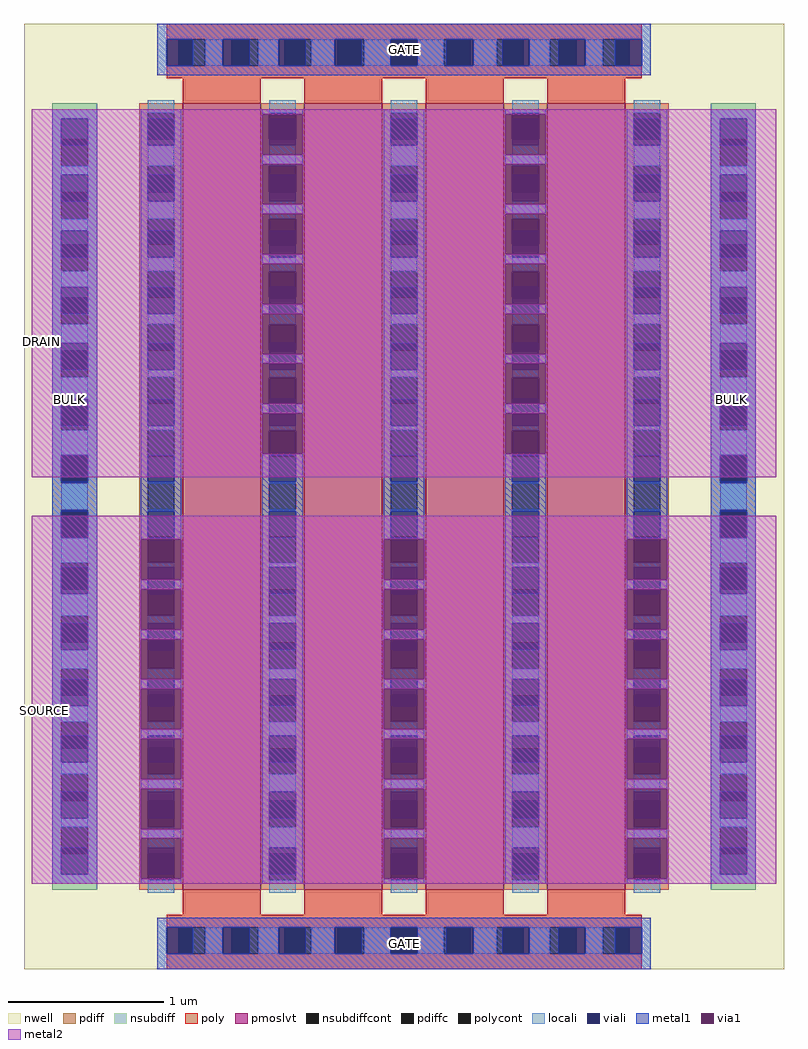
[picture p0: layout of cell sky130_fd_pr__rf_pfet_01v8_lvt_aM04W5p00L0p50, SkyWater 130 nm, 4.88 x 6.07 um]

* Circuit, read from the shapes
.subckt sky130_fd_pr__rf_pfet_01v8_lvt_aM04W5p00L0p50 BULK DRAIN GATE SOURCE
XM1 DRAIN GATE SOURCE BULK sky130_fd_pr__pfet_01v8_lvt w=5.05 l=0.5 m=4
.ends

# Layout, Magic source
magic
tech sky130A
magscale 1 2
<< nwell >>
rect 0 0 976 1214
<< pmoslvt >>
rect 204 102 304 1112
rect 360 102 460 1112
rect 516 102 616 1112
rect 672 102 772 1112
<< pdiff >>
rect 148 1100 204 1112
rect 148 1066 159 1100
rect 193 1066 204 1100
rect 148 1032 204 1066
rect 148 998 159 1032
rect 193 998 204 1032
rect 148 964 204 998
rect 148 930 159 964
rect 193 930 204 964
rect 148 896 204 930
rect 148 862 159 896
rect 193 862 204 896
rect 148 828 204 862
rect 148 794 159 828
rect 193 794 204 828
rect 148 760 204 794
rect 148 726 159 760
rect 193 726 204 760
rect 148 692 204 726
rect 148 658 159 692
rect 193 658 204 692
rect 148 624 204 658
rect 148 590 159 624
rect 193 590 204 624
rect 148 556 204 590
rect 148 522 159 556
rect 193 522 204 556
rect 148 488 204 522
rect 148 454 159 488
rect 193 454 204 488
rect 148 420 204 454
rect 148 386 159 420
rect 193 386 204 420
rect 148 352 204 386
rect 148 318 159 352
rect 193 318 204 352
rect 148 284 204 318
rect 148 250 159 284
rect 193 250 204 284
rect 148 216 204 250
rect 148 182 159 216
rect 193 182 204 216
rect 148 148 204 182
rect 148 114 159 148
rect 193 114 204 148
rect 148 102 204 114
rect 304 1100 360 1112
rect 304 1066 315 1100
rect 349 1066 360 1100
rect 304 1032 360 1066
rect 304 998 315 1032
rect 349 998 360 1032
rect 304 964 360 998
rect 304 930 315 964
rect 349 930 360 964
rect 304 896 360 930
rect 304 862 315 896
rect 349 862 360 896
rect 304 828 360 862
rect 304 794 315 828
rect 349 794 360 828
rect 304 760 360 794
rect 304 726 315 760
rect 349 726 360 760
rect 304 692 360 726
rect 304 658 315 692
rect 349 658 360 692
rect 304 624 360 658
rect 304 590 315 624
rect 349 590 360 624
rect 304 556 360 590
rect 304 522 315 556
rect 349 522 360 556
rect 304 488 360 522
rect 304 454 315 488
rect 349 454 360 488
rect 304 420 360 454
rect 304 386 315 420
rect 349 386 360 420
rect 304 352 360 386
rect 304 318 315 352
rect 349 318 360 352
rect 304 284 360 318
rect 304 250 315 284
rect 349 250 360 284
rect 304 216 360 250
rect 304 182 315 216
rect 349 182 360 216
rect 304 148 360 182
rect 304 114 315 148
rect 349 114 360 148
rect 304 102 360 114
rect 460 1100 516 1112
rect 460 1066 471 1100
rect 505 1066 516 1100
rect 460 1032 516 1066
rect 460 998 471 1032
rect 505 998 516 1032
rect 460 964 516 998
rect 460 930 471 964
rect 505 930 516 964
rect 460 896 516 930
rect 460 862 471 896
rect 505 862 516 896
rect 460 828 516 862
rect 460 794 471 828
rect 505 794 516 828
rect 460 760 516 794
rect 460 726 471 760
rect 505 726 516 760
rect 460 692 516 726
rect 460 658 471 692
rect 505 658 516 692
rect 460 624 516 658
rect 460 590 471 624
rect 505 590 516 624
rect 460 556 516 590
rect 460 522 471 556
rect 505 522 516 556
rect 460 488 516 522
rect 460 454 471 488
rect 505 454 516 488
rect 460 420 516 454
rect 460 386 471 420
rect 505 386 516 420
rect 460 352 516 386
rect 460 318 471 352
rect 505 318 516 352
rect 460 284 516 318
rect 460 250 471 284
rect 505 250 516 284
rect 460 216 516 250
rect 460 182 471 216
rect 505 182 516 216
rect 460 148 516 182
rect 460 114 471 148
rect 505 114 516 148
rect 460 102 516 114
rect 616 1100 672 1112
rect 616 1066 627 1100
rect 661 1066 672 1100
rect 616 1032 672 1066
rect 616 998 627 1032
rect 661 998 672 1032
rect 616 964 672 998
rect 616 930 627 964
rect 661 930 672 964
rect 616 896 672 930
rect 616 862 627 896
rect 661 862 672 896
rect 616 828 672 862
rect 616 794 627 828
rect 661 794 672 828
rect 616 760 672 794
rect 616 726 627 760
rect 661 726 672 760
rect 616 692 672 726
rect 616 658 627 692
rect 661 658 672 692
rect 616 624 672 658
rect 616 590 627 624
rect 661 590 672 624
rect 616 556 672 590
rect 616 522 627 556
rect 661 522 672 556
rect 616 488 672 522
rect 616 454 627 488
rect 661 454 672 488
rect 616 420 672 454
rect 616 386 627 420
rect 661 386 672 420
rect 616 352 672 386
rect 616 318 627 352
rect 661 318 672 352
rect 616 284 672 318
rect 616 250 627 284
rect 661 250 672 284
rect 616 216 672 250
rect 616 182 627 216
rect 661 182 672 216
rect 616 148 672 182
rect 616 114 627 148
rect 661 114 672 148
rect 616 102 672 114
rect 772 1100 828 1112
rect 772 1066 783 1100
rect 817 1066 828 1100
rect 772 1032 828 1066
rect 772 998 783 1032
rect 817 998 828 1032
rect 772 964 828 998
rect 772 930 783 964
rect 817 930 828 964
rect 772 896 828 930
rect 772 862 783 896
rect 817 862 828 896
rect 772 828 828 862
rect 772 794 783 828
rect 817 794 828 828
rect 772 760 828 794
rect 772 726 783 760
rect 817 726 828 760
rect 772 692 828 726
rect 772 658 783 692
rect 817 658 828 692
rect 772 624 828 658
rect 772 590 783 624
rect 817 590 828 624
rect 772 556 828 590
rect 772 522 783 556
rect 817 522 828 556
rect 772 488 828 522
rect 772 454 783 488
rect 817 454 828 488
rect 772 420 828 454
rect 772 386 783 420
rect 817 386 828 420
rect 772 352 828 386
rect 772 318 783 352
rect 817 318 828 352
rect 772 284 828 318
rect 772 250 783 284
rect 817 250 828 284
rect 772 216 828 250
rect 772 182 783 216
rect 817 182 828 216
rect 772 148 828 182
rect 772 114 783 148
rect 817 114 828 148
rect 772 102 828 114
<< pdiffc >>
rect 159 1066 193 1100
rect 159 998 193 1032
rect 159 930 193 964
rect 159 862 193 896
rect 159 794 193 828
rect 159 726 193 760
rect 159 658 193 692
rect 159 590 193 624
rect 159 522 193 556
rect 159 454 193 488
rect 159 386 193 420
rect 159 318 193 352
rect 159 250 193 284
rect 159 182 193 216
rect 159 114 193 148
rect 315 1066 349 1100
rect 315 998 349 1032
rect 315 930 349 964
rect 315 862 349 896
rect 315 794 349 828
rect 315 726 349 760
rect 315 658 349 692
rect 315 590 349 624
rect 315 522 349 556
rect 315 454 349 488
rect 315 386 349 420
rect 315 318 349 352
rect 315 250 349 284
rect 315 182 349 216
rect 315 114 349 148
rect 471 1066 505 1100
rect 471 998 505 1032
rect 471 930 505 964
rect 471 862 505 896
rect 471 794 505 828
rect 471 726 505 760
rect 471 658 505 692
rect 471 590 505 624
rect 471 522 505 556
rect 471 454 505 488
rect 471 386 505 420
rect 471 318 505 352
rect 471 250 505 284
rect 471 182 505 216
rect 471 114 505 148
rect 627 1066 661 1100
rect 627 998 661 1032
rect 627 930 661 964
rect 627 862 661 896
rect 627 794 661 828
rect 627 726 661 760
rect 627 658 661 692
rect 627 590 661 624
rect 627 522 661 556
rect 627 454 661 488
rect 627 386 661 420
rect 627 318 661 352
rect 627 250 661 284
rect 627 182 661 216
rect 627 114 661 148
rect 783 1066 817 1100
rect 783 998 817 1032
rect 783 930 817 964
rect 783 862 817 896
rect 783 794 817 828
rect 783 726 817 760
rect 783 658 817 692
rect 783 590 817 624
rect 783 522 817 556
rect 783 454 817 488
rect 783 386 817 420
rect 783 318 817 352
rect 783 250 817 284
rect 783 182 817 216
rect 783 114 817 148
<< nsubdiff >>
rect 36 1066 94 1112
rect 36 1032 48 1066
rect 82 1032 94 1066
rect 36 998 94 1032
rect 36 964 48 998
rect 82 964 94 998
rect 36 930 94 964
rect 36 896 48 930
rect 82 896 94 930
rect 36 862 94 896
rect 36 828 48 862
rect 82 828 94 862
rect 36 794 94 828
rect 36 760 48 794
rect 82 760 94 794
rect 36 726 94 760
rect 36 692 48 726
rect 82 692 94 726
rect 36 658 94 692
rect 36 624 48 658
rect 82 624 94 658
rect 36 590 94 624
rect 36 556 48 590
rect 82 556 94 590
rect 36 522 94 556
rect 36 488 48 522
rect 82 488 94 522
rect 36 454 94 488
rect 36 420 48 454
rect 82 420 94 454
rect 36 386 94 420
rect 36 352 48 386
rect 82 352 94 386
rect 36 318 94 352
rect 36 284 48 318
rect 82 284 94 318
rect 36 250 94 284
rect 36 216 48 250
rect 82 216 94 250
rect 36 182 94 216
rect 36 148 48 182
rect 82 148 94 182
rect 36 102 94 148
rect 882 1066 940 1112
rect 882 1032 894 1066
rect 928 1032 940 1066
rect 882 998 940 1032
rect 882 964 894 998
rect 928 964 940 998
rect 882 930 940 964
rect 882 896 894 930
rect 928 896 940 930
rect 882 862 940 896
rect 882 828 894 862
rect 928 828 940 862
rect 882 794 940 828
rect 882 760 894 794
rect 928 760 940 794
rect 882 726 940 760
rect 882 692 894 726
rect 928 692 940 726
rect 882 658 940 692
rect 882 624 894 658
rect 928 624 940 658
rect 882 590 940 624
rect 882 556 894 590
rect 928 556 940 590
rect 882 522 940 556
rect 882 488 894 522
rect 928 488 940 522
rect 882 454 940 488
rect 882 420 894 454
rect 928 420 940 454
rect 882 386 940 420
rect 882 352 894 386
rect 928 352 940 386
rect 882 318 940 352
rect 882 284 894 318
rect 928 284 940 318
rect 882 250 940 284
rect 882 216 894 250
rect 928 216 940 250
rect 882 182 940 216
rect 882 148 894 182
rect 928 148 940 182
rect 882 102 940 148
<< nsubdiffcont >>
rect 48 1032 82 1066
rect 48 964 82 998
rect 48 896 82 930
rect 48 828 82 862
rect 48 760 82 794
rect 48 692 82 726
rect 48 624 82 658
rect 48 556 82 590
rect 48 488 82 522
rect 48 420 82 454
rect 48 352 82 386
rect 48 284 82 318
rect 48 216 82 250
rect 48 148 82 182
rect 894 1032 928 1066
rect 894 964 928 998
rect 894 896 928 930
rect 894 828 928 862
rect 894 760 928 794
rect 894 692 928 726
rect 894 624 928 658
rect 894 556 928 590
rect 894 488 928 522
rect 894 420 928 454
rect 894 352 928 386
rect 894 284 928 318
rect 894 216 928 250
rect 894 148 928 182
<< poly >>
rect 183 1194 793 1214
rect 183 1160 199 1194
rect 233 1160 267 1194
rect 301 1160 335 1194
rect 369 1160 403 1194
rect 437 1160 471 1194
rect 505 1160 539 1194
rect 573 1160 607 1194
rect 641 1160 675 1194
rect 709 1160 743 1194
rect 777 1160 793 1194
rect 183 1144 793 1160
rect 204 1112 304 1144
rect 360 1112 460 1144
rect 516 1112 616 1144
rect 672 1112 772 1144
rect 204 70 304 102
rect 360 70 460 102
rect 516 70 616 102
rect 672 70 772 102
rect 183 54 793 70
rect 183 20 199 54
rect 233 20 267 54
rect 301 20 335 54
rect 369 20 403 54
rect 437 20 471 54
rect 505 20 539 54
rect 573 20 607 54
rect 641 20 675 54
rect 709 20 743 54
rect 777 20 793 54
rect 183 0 793 20
<< polycont >>
rect 199 1160 233 1194
rect 267 1160 301 1194
rect 335 1160 369 1194
rect 403 1160 437 1194
rect 471 1160 505 1194
rect 539 1160 573 1194
rect 607 1160 641 1194
rect 675 1160 709 1194
rect 743 1160 777 1194
rect 199 20 233 54
rect 267 20 301 54
rect 335 20 369 54
rect 403 20 437 54
rect 471 20 505 54
rect 539 20 573 54
rect 607 20 641 54
rect 675 20 709 54
rect 743 20 777 54
<< locali >>
rect 233 1160 255 1194
rect 301 1160 327 1194
rect 369 1160 399 1194
rect 437 1160 471 1194
rect 505 1160 539 1194
rect 577 1160 607 1194
rect 649 1160 675 1194
rect 721 1160 743 1194
rect 159 1100 193 1116
rect 48 1020 82 1032
rect 48 948 82 964
rect 48 876 82 896
rect 48 804 82 828
rect 48 732 82 760
rect 48 660 82 692
rect 48 590 82 624
rect 48 522 82 554
rect 48 454 82 482
rect 48 386 82 410
rect 48 318 82 338
rect 48 250 82 266
rect 48 182 82 194
rect 159 1032 193 1058
rect 159 964 193 986
rect 159 896 193 914
rect 159 828 193 842
rect 159 760 193 770
rect 159 692 193 698
rect 159 624 193 626
rect 159 588 193 590
rect 159 516 193 522
rect 159 444 193 454
rect 159 372 193 386
rect 159 300 193 318
rect 159 228 193 250
rect 159 156 193 182
rect 159 98 193 114
rect 315 1100 349 1116
rect 315 1032 349 1058
rect 315 964 349 986
rect 315 896 349 914
rect 315 828 349 842
rect 315 760 349 770
rect 315 692 349 698
rect 315 624 349 626
rect 315 588 349 590
rect 315 516 349 522
rect 315 444 349 454
rect 315 372 349 386
rect 315 300 349 318
rect 315 228 349 250
rect 315 156 349 182
rect 315 98 349 114
rect 471 1100 505 1116
rect 471 1032 505 1058
rect 471 964 505 986
rect 471 896 505 914
rect 471 828 505 842
rect 471 760 505 770
rect 471 692 505 698
rect 471 624 505 626
rect 471 588 505 590
rect 471 516 505 522
rect 471 444 505 454
rect 471 372 505 386
rect 471 300 505 318
rect 471 228 505 250
rect 471 156 505 182
rect 471 98 505 114
rect 627 1100 661 1116
rect 627 1032 661 1058
rect 627 964 661 986
rect 627 896 661 914
rect 627 828 661 842
rect 627 760 661 770
rect 627 692 661 698
rect 627 624 661 626
rect 627 588 661 590
rect 627 516 661 522
rect 627 444 661 454
rect 627 372 661 386
rect 627 300 661 318
rect 627 228 661 250
rect 627 156 661 182
rect 627 98 661 114
rect 783 1100 817 1116
rect 783 1032 817 1058
rect 783 964 817 986
rect 783 896 817 914
rect 783 828 817 842
rect 783 760 817 770
rect 783 692 817 698
rect 783 624 817 626
rect 783 588 817 590
rect 783 516 817 522
rect 783 444 817 454
rect 783 372 817 386
rect 783 300 817 318
rect 783 228 817 250
rect 783 156 817 182
rect 894 1020 928 1032
rect 894 948 928 964
rect 894 876 928 896
rect 894 804 928 828
rect 894 732 928 760
rect 894 660 928 692
rect 894 590 928 624
rect 894 522 928 554
rect 894 454 928 482
rect 894 386 928 410
rect 894 318 928 338
rect 894 250 928 266
rect 894 182 928 194
rect 783 98 817 114
rect 233 20 255 54
rect 301 20 327 54
rect 369 20 399 54
rect 437 20 471 54
rect 505 20 539 54
rect 577 20 607 54
rect 649 20 675 54
rect 721 20 743 54
<< viali >>
rect 183 1160 199 1194
rect 199 1160 217 1194
rect 255 1160 267 1194
rect 267 1160 289 1194
rect 327 1160 335 1194
rect 335 1160 361 1194
rect 399 1160 403 1194
rect 403 1160 433 1194
rect 471 1160 505 1194
rect 543 1160 573 1194
rect 573 1160 577 1194
rect 615 1160 641 1194
rect 641 1160 649 1194
rect 687 1160 709 1194
rect 709 1160 721 1194
rect 759 1160 777 1194
rect 777 1160 793 1194
rect 48 1066 82 1092
rect 48 1058 82 1066
rect 48 998 82 1020
rect 48 986 82 998
rect 48 930 82 948
rect 48 914 82 930
rect 48 862 82 876
rect 48 842 82 862
rect 48 794 82 804
rect 48 770 82 794
rect 48 726 82 732
rect 48 698 82 726
rect 48 658 82 660
rect 48 626 82 658
rect 48 556 82 588
rect 48 554 82 556
rect 48 488 82 516
rect 48 482 82 488
rect 48 420 82 444
rect 48 410 82 420
rect 48 352 82 372
rect 48 338 82 352
rect 48 284 82 300
rect 48 266 82 284
rect 48 216 82 228
rect 48 194 82 216
rect 48 148 82 156
rect 48 122 82 148
rect 159 1066 193 1092
rect 159 1058 193 1066
rect 159 998 193 1020
rect 159 986 193 998
rect 159 930 193 948
rect 159 914 193 930
rect 159 862 193 876
rect 159 842 193 862
rect 159 794 193 804
rect 159 770 193 794
rect 159 726 193 732
rect 159 698 193 726
rect 159 658 193 660
rect 159 626 193 658
rect 159 556 193 588
rect 159 554 193 556
rect 159 488 193 516
rect 159 482 193 488
rect 159 420 193 444
rect 159 410 193 420
rect 159 352 193 372
rect 159 338 193 352
rect 159 284 193 300
rect 159 266 193 284
rect 159 216 193 228
rect 159 194 193 216
rect 159 148 193 156
rect 159 122 193 148
rect 315 1066 349 1092
rect 315 1058 349 1066
rect 315 998 349 1020
rect 315 986 349 998
rect 315 930 349 948
rect 315 914 349 930
rect 315 862 349 876
rect 315 842 349 862
rect 315 794 349 804
rect 315 770 349 794
rect 315 726 349 732
rect 315 698 349 726
rect 315 658 349 660
rect 315 626 349 658
rect 315 556 349 588
rect 315 554 349 556
rect 315 488 349 516
rect 315 482 349 488
rect 315 420 349 444
rect 315 410 349 420
rect 315 352 349 372
rect 315 338 349 352
rect 315 284 349 300
rect 315 266 349 284
rect 315 216 349 228
rect 315 194 349 216
rect 315 148 349 156
rect 315 122 349 148
rect 471 1066 505 1092
rect 471 1058 505 1066
rect 471 998 505 1020
rect 471 986 505 998
rect 471 930 505 948
rect 471 914 505 930
rect 471 862 505 876
rect 471 842 505 862
rect 471 794 505 804
rect 471 770 505 794
rect 471 726 505 732
rect 471 698 505 726
rect 471 658 505 660
rect 471 626 505 658
rect 471 556 505 588
rect 471 554 505 556
rect 471 488 505 516
rect 471 482 505 488
rect 471 420 505 444
rect 471 410 505 420
rect 471 352 505 372
rect 471 338 505 352
rect 471 284 505 300
rect 471 266 505 284
rect 471 216 505 228
rect 471 194 505 216
rect 471 148 505 156
rect 471 122 505 148
rect 627 1066 661 1092
rect 627 1058 661 1066
rect 627 998 661 1020
rect 627 986 661 998
rect 627 930 661 948
rect 627 914 661 930
rect 627 862 661 876
rect 627 842 661 862
rect 627 794 661 804
rect 627 770 661 794
rect 627 726 661 732
rect 627 698 661 726
rect 627 658 661 660
rect 627 626 661 658
rect 627 556 661 588
rect 627 554 661 556
rect 627 488 661 516
rect 627 482 661 488
rect 627 420 661 444
rect 627 410 661 420
rect 627 352 661 372
rect 627 338 661 352
rect 627 284 661 300
rect 627 266 661 284
rect 627 216 661 228
rect 627 194 661 216
rect 627 148 661 156
rect 627 122 661 148
rect 783 1066 817 1092
rect 783 1058 817 1066
rect 783 998 817 1020
rect 783 986 817 998
rect 783 930 817 948
rect 783 914 817 930
rect 783 862 817 876
rect 783 842 817 862
rect 783 794 817 804
rect 783 770 817 794
rect 783 726 817 732
rect 783 698 817 726
rect 783 658 817 660
rect 783 626 817 658
rect 783 556 817 588
rect 783 554 817 556
rect 783 488 817 516
rect 783 482 817 488
rect 783 420 817 444
rect 783 410 817 420
rect 783 352 817 372
rect 783 338 817 352
rect 783 284 817 300
rect 783 266 817 284
rect 783 216 817 228
rect 783 194 817 216
rect 783 148 817 156
rect 783 122 817 148
rect 894 1066 928 1092
rect 894 1058 928 1066
rect 894 998 928 1020
rect 894 986 928 998
rect 894 930 928 948
rect 894 914 928 930
rect 894 862 928 876
rect 894 842 928 862
rect 894 794 928 804
rect 894 770 928 794
rect 894 726 928 732
rect 894 698 928 726
rect 894 658 928 660
rect 894 626 928 658
rect 894 556 928 588
rect 894 554 928 556
rect 894 488 928 516
rect 894 482 928 488
rect 894 420 928 444
rect 894 410 928 420
rect 894 352 928 372
rect 894 338 928 352
rect 894 284 928 300
rect 894 266 928 284
rect 894 216 928 228
rect 894 194 928 216
rect 894 148 928 156
rect 894 122 928 148
rect 183 20 199 54
rect 199 20 217 54
rect 255 20 267 54
rect 267 20 289 54
rect 327 20 335 54
rect 335 20 361 54
rect 399 20 403 54
rect 403 20 433 54
rect 471 20 505 54
rect 543 20 573 54
rect 573 20 577 54
rect 615 20 641 54
rect 641 20 649 54
rect 687 20 709 54
rect 709 20 721 54
rect 759 20 777 54
rect 777 20 793 54
<< metal1 >>
rect 171 1194 805 1214
rect 171 1160 183 1194
rect 217 1160 255 1194
rect 289 1160 327 1194
rect 361 1160 399 1194
rect 433 1160 471 1194
rect 505 1160 543 1194
rect 577 1160 615 1194
rect 649 1160 687 1194
rect 721 1160 759 1194
rect 793 1160 805 1194
rect 171 1148 805 1160
rect 36 1092 94 1104
rect 36 1058 48 1092
rect 82 1058 94 1092
rect 36 1020 94 1058
rect 36 986 48 1020
rect 82 986 94 1020
rect 36 948 94 986
rect 36 914 48 948
rect 82 914 94 948
rect 36 876 94 914
rect 36 842 48 876
rect 82 842 94 876
rect 36 804 94 842
rect 36 770 48 804
rect 82 770 94 804
rect 36 732 94 770
rect 36 698 48 732
rect 82 698 94 732
rect 36 660 94 698
rect 36 626 48 660
rect 82 626 94 660
rect 36 588 94 626
rect 36 554 48 588
rect 82 554 94 588
rect 36 516 94 554
rect 36 482 48 516
rect 82 482 94 516
rect 36 444 94 482
rect 36 410 48 444
rect 82 410 94 444
rect 36 372 94 410
rect 36 338 48 372
rect 82 338 94 372
rect 36 300 94 338
rect 36 266 48 300
rect 82 266 94 300
rect 36 228 94 266
rect 36 194 48 228
rect 82 194 94 228
rect 36 156 94 194
rect 36 122 48 156
rect 82 122 94 156
rect 36 110 94 122
rect 150 1092 202 1104
rect 150 1058 159 1092
rect 193 1058 202 1092
rect 150 1020 202 1058
rect 150 986 159 1020
rect 193 986 202 1020
rect 150 948 202 986
rect 150 914 159 948
rect 193 914 202 948
rect 150 876 202 914
rect 150 842 159 876
rect 193 842 202 876
rect 150 804 202 842
rect 150 770 159 804
rect 193 770 202 804
rect 150 732 202 770
rect 150 698 159 732
rect 193 698 202 732
rect 150 660 202 698
rect 150 626 159 660
rect 193 626 202 660
rect 150 588 202 626
rect 150 554 159 588
rect 193 554 202 588
rect 150 552 202 554
rect 150 488 159 500
rect 193 488 202 500
rect 150 424 159 436
rect 193 424 202 436
rect 150 360 159 372
rect 193 360 202 372
rect 150 300 202 308
rect 150 296 159 300
rect 193 296 202 300
rect 150 232 202 244
rect 150 168 202 180
rect 150 110 202 116
rect 306 1098 358 1104
rect 306 1034 358 1046
rect 306 970 358 982
rect 306 914 315 918
rect 349 914 358 918
rect 306 906 358 914
rect 306 842 315 854
rect 349 842 358 854
rect 306 778 315 790
rect 349 778 358 790
rect 306 714 315 726
rect 349 714 358 726
rect 306 660 358 662
rect 306 626 315 660
rect 349 626 358 660
rect 306 588 358 626
rect 306 554 315 588
rect 349 554 358 588
rect 306 516 358 554
rect 306 482 315 516
rect 349 482 358 516
rect 306 444 358 482
rect 306 410 315 444
rect 349 410 358 444
rect 306 372 358 410
rect 306 338 315 372
rect 349 338 358 372
rect 306 300 358 338
rect 306 266 315 300
rect 349 266 358 300
rect 306 228 358 266
rect 306 194 315 228
rect 349 194 358 228
rect 306 156 358 194
rect 306 122 315 156
rect 349 122 358 156
rect 306 110 358 122
rect 462 1092 514 1104
rect 462 1058 471 1092
rect 505 1058 514 1092
rect 462 1020 514 1058
rect 462 986 471 1020
rect 505 986 514 1020
rect 462 948 514 986
rect 462 914 471 948
rect 505 914 514 948
rect 462 876 514 914
rect 462 842 471 876
rect 505 842 514 876
rect 462 804 514 842
rect 462 770 471 804
rect 505 770 514 804
rect 462 732 514 770
rect 462 698 471 732
rect 505 698 514 732
rect 462 660 514 698
rect 462 626 471 660
rect 505 626 514 660
rect 462 588 514 626
rect 462 554 471 588
rect 505 554 514 588
rect 462 552 514 554
rect 462 488 471 500
rect 505 488 514 500
rect 462 424 471 436
rect 505 424 514 436
rect 462 360 471 372
rect 505 360 514 372
rect 462 300 514 308
rect 462 296 471 300
rect 505 296 514 300
rect 462 232 514 244
rect 462 168 514 180
rect 462 110 514 116
rect 618 1098 670 1104
rect 618 1034 670 1046
rect 618 970 670 982
rect 618 914 627 918
rect 661 914 670 918
rect 618 906 670 914
rect 618 842 627 854
rect 661 842 670 854
rect 618 778 627 790
rect 661 778 670 790
rect 618 714 627 726
rect 661 714 670 726
rect 618 660 670 662
rect 618 626 627 660
rect 661 626 670 660
rect 618 588 670 626
rect 618 554 627 588
rect 661 554 670 588
rect 618 516 670 554
rect 618 482 627 516
rect 661 482 670 516
rect 618 444 670 482
rect 618 410 627 444
rect 661 410 670 444
rect 618 372 670 410
rect 618 338 627 372
rect 661 338 670 372
rect 618 300 670 338
rect 618 266 627 300
rect 661 266 670 300
rect 618 228 670 266
rect 618 194 627 228
rect 661 194 670 228
rect 618 156 670 194
rect 618 122 627 156
rect 661 122 670 156
rect 618 110 670 122
rect 774 1092 826 1104
rect 774 1058 783 1092
rect 817 1058 826 1092
rect 774 1020 826 1058
rect 774 986 783 1020
rect 817 986 826 1020
rect 774 948 826 986
rect 774 914 783 948
rect 817 914 826 948
rect 774 876 826 914
rect 774 842 783 876
rect 817 842 826 876
rect 774 804 826 842
rect 774 770 783 804
rect 817 770 826 804
rect 774 732 826 770
rect 774 698 783 732
rect 817 698 826 732
rect 774 660 826 698
rect 774 626 783 660
rect 817 626 826 660
rect 774 588 826 626
rect 774 554 783 588
rect 817 554 826 588
rect 774 552 826 554
rect 774 488 783 500
rect 817 488 826 500
rect 774 424 783 436
rect 817 424 826 436
rect 774 360 783 372
rect 817 360 826 372
rect 774 300 826 308
rect 774 296 783 300
rect 817 296 826 300
rect 774 232 826 244
rect 774 168 826 180
rect 774 110 826 116
rect 882 1092 940 1104
rect 882 1058 894 1092
rect 928 1058 940 1092
rect 882 1020 940 1058
rect 882 986 894 1020
rect 928 986 940 1020
rect 882 948 940 986
rect 882 914 894 948
rect 928 914 940 948
rect 882 876 940 914
rect 882 842 894 876
rect 928 842 940 876
rect 882 804 940 842
rect 882 770 894 804
rect 928 770 940 804
rect 882 732 940 770
rect 882 698 894 732
rect 928 698 940 732
rect 882 660 940 698
rect 882 626 894 660
rect 928 626 940 660
rect 882 588 940 626
rect 882 554 894 588
rect 928 554 940 588
rect 882 516 940 554
rect 882 482 894 516
rect 928 482 940 516
rect 882 444 940 482
rect 882 410 894 444
rect 928 410 940 444
rect 882 372 940 410
rect 882 338 894 372
rect 928 338 940 372
rect 882 300 940 338
rect 882 266 894 300
rect 928 266 940 300
rect 882 228 940 266
rect 882 194 894 228
rect 928 194 940 228
rect 882 156 940 194
rect 882 122 894 156
rect 928 122 940 156
rect 882 110 940 122
rect 171 54 805 66
rect 171 20 183 54
rect 217 20 255 54
rect 289 20 327 54
rect 361 20 399 54
rect 433 20 471 54
rect 505 20 543 54
rect 577 20 615 54
rect 649 20 687 54
rect 721 20 759 54
rect 793 20 805 54
rect 171 0 805 20
<< via1 >>
rect 150 516 202 552
rect 150 500 159 516
rect 159 500 193 516
rect 193 500 202 516
rect 150 482 159 488
rect 159 482 193 488
rect 193 482 202 488
rect 150 444 202 482
rect 150 436 159 444
rect 159 436 193 444
rect 193 436 202 444
rect 150 410 159 424
rect 159 410 193 424
rect 193 410 202 424
rect 150 372 202 410
rect 150 338 159 360
rect 159 338 193 360
rect 193 338 202 360
rect 150 308 202 338
rect 150 266 159 296
rect 159 266 193 296
rect 193 266 202 296
rect 150 244 202 266
rect 150 228 202 232
rect 150 194 159 228
rect 159 194 193 228
rect 193 194 202 228
rect 150 180 202 194
rect 150 156 202 168
rect 150 122 159 156
rect 159 122 193 156
rect 193 122 202 156
rect 150 116 202 122
rect 306 1092 358 1098
rect 306 1058 315 1092
rect 315 1058 349 1092
rect 349 1058 358 1092
rect 306 1046 358 1058
rect 306 1020 358 1034
rect 306 986 315 1020
rect 315 986 349 1020
rect 349 986 358 1020
rect 306 982 358 986
rect 306 948 358 970
rect 306 918 315 948
rect 315 918 349 948
rect 349 918 358 948
rect 306 876 358 906
rect 306 854 315 876
rect 315 854 349 876
rect 349 854 358 876
rect 306 804 358 842
rect 306 790 315 804
rect 315 790 349 804
rect 349 790 358 804
rect 306 770 315 778
rect 315 770 349 778
rect 349 770 358 778
rect 306 732 358 770
rect 306 726 315 732
rect 315 726 349 732
rect 349 726 358 732
rect 306 698 315 714
rect 315 698 349 714
rect 349 698 358 714
rect 306 662 358 698
rect 462 516 514 552
rect 462 500 471 516
rect 471 500 505 516
rect 505 500 514 516
rect 462 482 471 488
rect 471 482 505 488
rect 505 482 514 488
rect 462 444 514 482
rect 462 436 471 444
rect 471 436 505 444
rect 505 436 514 444
rect 462 410 471 424
rect 471 410 505 424
rect 505 410 514 424
rect 462 372 514 410
rect 462 338 471 360
rect 471 338 505 360
rect 505 338 514 360
rect 462 308 514 338
rect 462 266 471 296
rect 471 266 505 296
rect 505 266 514 296
rect 462 244 514 266
rect 462 228 514 232
rect 462 194 471 228
rect 471 194 505 228
rect 505 194 514 228
rect 462 180 514 194
rect 462 156 514 168
rect 462 122 471 156
rect 471 122 505 156
rect 505 122 514 156
rect 462 116 514 122
rect 618 1092 670 1098
rect 618 1058 627 1092
rect 627 1058 661 1092
rect 661 1058 670 1092
rect 618 1046 670 1058
rect 618 1020 670 1034
rect 618 986 627 1020
rect 627 986 661 1020
rect 661 986 670 1020
rect 618 982 670 986
rect 618 948 670 970
rect 618 918 627 948
rect 627 918 661 948
rect 661 918 670 948
rect 618 876 670 906
rect 618 854 627 876
rect 627 854 661 876
rect 661 854 670 876
rect 618 804 670 842
rect 618 790 627 804
rect 627 790 661 804
rect 661 790 670 804
rect 618 770 627 778
rect 627 770 661 778
rect 661 770 670 778
rect 618 732 670 770
rect 618 726 627 732
rect 627 726 661 732
rect 661 726 670 732
rect 618 698 627 714
rect 627 698 661 714
rect 661 698 670 714
rect 618 662 670 698
rect 774 516 826 552
rect 774 500 783 516
rect 783 500 817 516
rect 817 500 826 516
rect 774 482 783 488
rect 783 482 817 488
rect 817 482 826 488
rect 774 444 826 482
rect 774 436 783 444
rect 783 436 817 444
rect 817 436 826 444
rect 774 410 783 424
rect 783 410 817 424
rect 817 410 826 424
rect 774 372 826 410
rect 774 338 783 360
rect 783 338 817 360
rect 817 338 826 360
rect 774 308 826 338
rect 774 266 783 296
rect 783 266 817 296
rect 817 266 826 296
rect 774 244 826 266
rect 774 228 826 232
rect 774 194 783 228
rect 783 194 817 228
rect 817 194 826 228
rect 774 180 826 194
rect 774 156 826 168
rect 774 122 783 156
rect 783 122 817 156
rect 817 122 826 156
rect 774 116 826 122
<< metal2 >>
rect 10 1098 966 1104
rect 10 1046 306 1098
rect 358 1046 618 1098
rect 670 1046 966 1098
rect 10 1034 966 1046
rect 10 982 306 1034
rect 358 982 618 1034
rect 670 982 966 1034
rect 10 970 966 982
rect 10 918 306 970
rect 358 918 618 970
rect 670 918 966 970
rect 10 906 966 918
rect 10 854 306 906
rect 358 854 618 906
rect 670 854 966 906
rect 10 842 966 854
rect 10 790 306 842
rect 358 790 618 842
rect 670 790 966 842
rect 10 778 966 790
rect 10 726 306 778
rect 358 726 618 778
rect 670 726 966 778
rect 10 714 966 726
rect 10 662 306 714
rect 358 662 618 714
rect 670 662 966 714
rect 10 632 966 662
rect 10 552 966 582
rect 10 500 150 552
rect 202 500 462 552
rect 514 500 774 552
rect 826 500 966 552
rect 10 488 966 500
rect 10 436 150 488
rect 202 436 462 488
rect 514 436 774 488
rect 826 436 966 488
rect 10 424 966 436
rect 10 372 150 424
rect 202 372 462 424
rect 514 372 774 424
rect 826 372 966 424
rect 10 360 966 372
rect 10 308 150 360
rect 202 308 462 360
rect 514 308 774 360
rect 826 308 966 360
rect 10 296 966 308
rect 10 244 150 296
rect 202 244 462 296
rect 514 244 774 296
rect 826 244 966 296
rect 10 232 966 244
rect 10 180 150 232
rect 202 180 462 232
rect 514 180 774 232
rect 826 180 966 232
rect 10 168 966 180
rect 10 116 150 168
rect 202 116 462 168
rect 514 116 774 168
rect 826 116 966 168
rect 10 110 966 116
<< labels >>
flabel metal2 s 13 771 32 841 0 FreeSans 400 90 0 0 DRAIN
port 2 nsew
flabel metal2 s 16 300 37 364 0 FreeSans 400 90 0 0 SOURCE
port 4 nsew
flabel metal1 s 58 732 58 732 7 FreeSans 400 90 0 0 BULK
port 1 nsew
flabel metal1 s 908 732 908 732 7 FreeSans 400 90 0 0 BULK
port 1 nsew
flabel metal1 s 171 1148 805 1214 0 FreeSans 300 0 0 0 GATE
port 3 nsew
flabel metal1 s 171 0 805 66 0 FreeSans 300 0 0 0 GATE
port 3 nsew
<< properties >>
string GDS_FILE $PDKPATH/libs.ref/sky130_fd_pr/gds/sky130_fd_pr.gds
string GDS_END 10065722
string GDS_START 10043242
<< end >>
